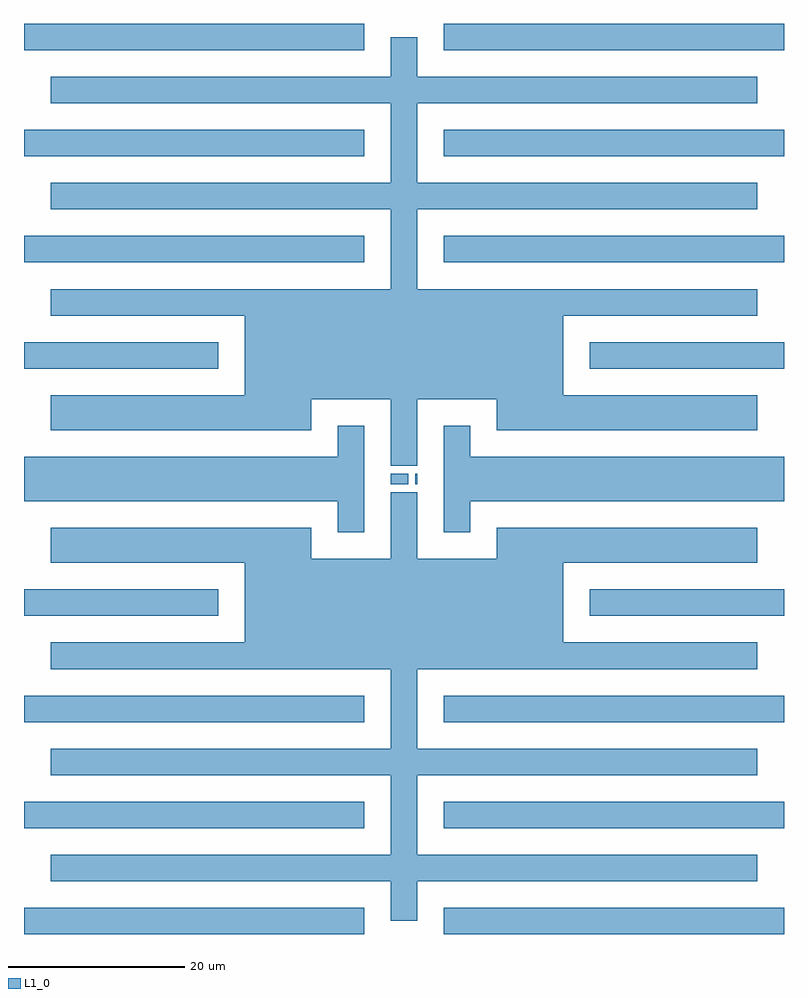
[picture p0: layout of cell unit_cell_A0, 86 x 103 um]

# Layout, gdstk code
from math import pi, radians
import gdstk
lib = gdstk.Library(unit=1e-6, precision=1e-09)
def R(c, l, rs):  # rectangles x0, y0, x1, y1
    for r in rs: c.add(gdstk.rectangle(r[:2], r[2:], *l))
def P(c, l, *ps):  # polygons
    for p in ps: c.add(gdstk.Polygon(p, *l))
L1_0 = (1, 0)

unnamed_279 = lib.new_cell('Unnamed_279')
P(unnamed_279, L1_0, [(38.5,0),(38.5,4.5),(0,4.5),(0,7.5),(38.5,7.5),(38.5,16.5),(0,16.5),(0,19.5),(38.5,19.5),(38.5,28.5),(0,28.5),(0,31.5),(22,31.5),(22,40.5),(0,40.5),(0,44.5),(29.5,44.5),(29.5,41),(38.5,41),(38.5,48.5),(40,48.5),(40,0)])

straight_l38p5_n2_csxs_e = lib.new_cell('straight_L38p5_N2_CSxs_e9659eb0')
R(straight_l38p5_n2_csxs_e, L1_0, [(0,-1.5,38.5,1.5)])

straight_array_n3_s9_l3_ = lib.new_cell('straight_array_N3_S9_L3_b91b2c6a')
straight_array_n3_s9_l3_.add(gdstk.Reference(straight_l38p5_n2_csxs_e, (0,0)))
straight_array_n3_s9_l3_.add(gdstk.Reference(straight_l38p5_n2_csxs_e, (0,12)))
straight_array_n3_s9_l3_.add(gdstk.Reference(straight_l38p5_n2_csxs_e, (0,24)))

straight_l22_n2_csxs_e96 = lib.new_cell('straight_L22_N2_CSxs_e9659eb0')
R(straight_l22_n2_csxs_e96, L1_0, [(0,-1.5,22,1.5)])

unnamed_276 = lib.new_cell('Unnamed_276')
unnamed_276.add(gdstk.Reference(straight_array_n3_s9_l3_, (-3,0)))
unnamed_276.add(gdstk.Reference(straight_l22_n2_csxs_e96, (-3,36)))

straight_l35p5_n2_csxs_3 = lib.new_cell('straight_L35p5_N2_CSxs_3e6774cf')
R(straight_l35p5_n2_csxs_3, L1_0, [(0,-2.5,35.5,2.5)])

triangle_x6_x2p5_y3_y3_l = lib.new_cell('triangle_X6_X2p5_Y3_Y3_L1_0')
R(triangle_x6_x2p5_y3_y3_l, L1_0, [(0,0,6,3)])

unnamed_277 = lib.new_cell('Unnamed_277')
unnamed_277.add(gdstk.Reference(straight_l35p5_n2_csxs_3, (-3,50)))
unnamed_277.add(gdstk.Reference(triangle_x6_x2p5_y3_y3_l, (35.5,50), rotation=3*pi/2, x_reflection=True))

unnamed_280 = lib.new_cell('Unnamed_280')
unnamed_280.add(gdstk.Reference(unnamed_279, (0,0)))
unnamed_280.add(gdstk.Reference(unnamed_276, (0,0)))
unnamed_280.add(gdstk.Reference(unnamed_277, (0,0)))

rectangle_s2_0p6_lwg_cf_ = lib.new_cell('rectangle_S2_0p6_LWG_CF_a6a46f17')
R(rectangle_s2_0p6_lwg_cf_, L1_0, [(0,0,2,0.6)])

rectangle_s0p2_1p2_lwg__ = lib.new_cell('rectangle_S0p2_1p2_LWG__107b6a9b')
R(rectangle_s0p2_1p2_lwg__, L1_0, [(0,0,0.2,1.2)])

unnamed_281 = lib.new_cell('Unnamed_281')
unnamed_281.add(gdstk.Reference(rectangle_s2_0p6_lwg_cf_, (0,0)))
unnamed_281.add(gdstk.Reference(rectangle_s0p2_1p2_lwg__, (2.8,-0.6)))

unit_cell_a0 = lib.new_cell('unit_cell_A0')
unit_cell_a0.add(gdstk.Reference(unnamed_280, (0,0)))
unit_cell_a0.add(gdstk.Reference(unnamed_280, (80,0), rotation=pi, x_reflection=True))
unit_cell_a0.add(gdstk.Reference(unnamed_280, (0,100), x_reflection=True))
unit_cell_a0.add(gdstk.Reference(unnamed_280, (80,100), rotation=pi))
unit_cell_a0.add(gdstk.Reference(unnamed_281, (38.5,50)))
unit_cell_a0.add(gdstk.Reference(unnamed_281, (38.5,50), x_reflection=True))

lib.write_gds('unit_cell_A0.gds')
